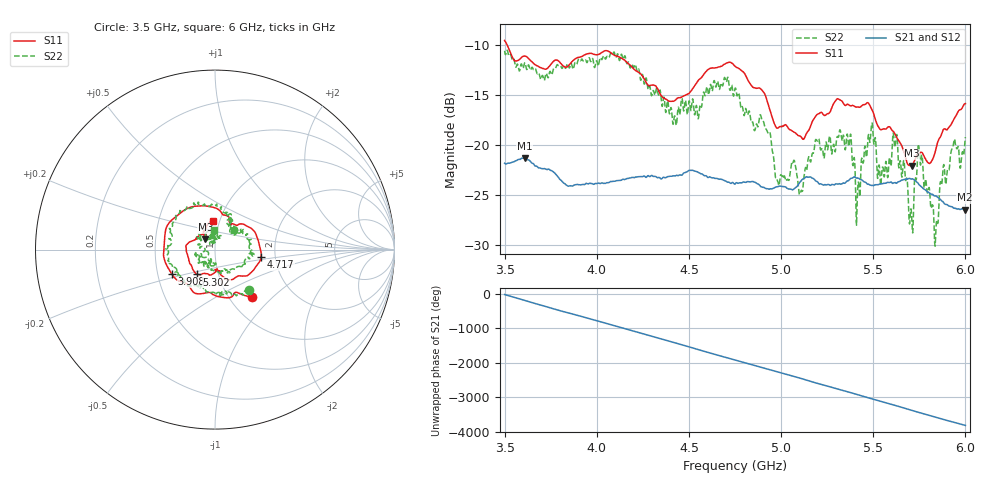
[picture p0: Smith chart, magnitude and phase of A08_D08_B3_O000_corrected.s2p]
! Created with skrf 1.9.0 (http://scikit-rf.org).
# Hz S RI R 50.0
!freq ReS11 ImS11 ReS21 ImS21 ReS12 ImS12 ReS22 ImS22
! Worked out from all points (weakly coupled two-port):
!   1601 points, 3.5 GHz to 6 GHz, reference 50 ohm
!   highest |S21| = -21.28 dB at 3.609 GHz (marker M1); lowest = -26.4 dB at 5.995 GHz (marker M2)
!   lowest |S11| = -22.0 dB at 5.708 GHz (marker M3), VSWR 1.17, Z = 44.6 + j5.22 ohm
!   |S11| at or under -10 dB: 3.515 GHz to end of sweep
!   |S22| runs from -30.1 to -10.5 dB; largest |S21 - S12| = 0.0012
!   S11 on the Smith chart (normalised r, x): 3.5 GHz: 1.28, -0.75; 3.908 GHz: 0.59, -0.18; 4.717 GHz: 1.68, -0.15; 5.302 GHz: 0.79, -0.23; 6 GHz: 0.93, +0.31
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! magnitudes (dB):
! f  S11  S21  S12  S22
! 3.5 GHz  -9.5  -21.8  -21.8  -10.5
! 3.609 GHz  -11.1  -21.3  -21.3  -11.7
! 3.908 GHz  -11.2  -24.0  -23.9  -11.4
! 3.917 GHz  -11.1  -23.9  -23.9  -11.4
! 4.334 GHz  -14.5  -23.2  -23.2  -15.0
! 4.423 GHz  -15.5  -23.1  -23.1  -17.1
! 4.717 GHz  -11.7  -23.7  -23.8  -13.9
! 4.75 GHz  -12.1  -23.9  -23.8  -14.3
! 4.981 GHz  -18.3  -24.1  -24.1  -23.6
! 5.167 GHz  -17.7  -23.3  -23.2  -21.0
! 5.302 GHz  -15.4  -23.9  -23.8  -19.3
! 5.37 GHz  -16.0  -23.4  -23.4  -19.9
! 5.417 GHz  -16.2  -23.3  -23.3  -23.9
! 5.486 GHz  -16.2  -24.0  -24.0  -19.0
! 5.584 GHz  -18.1  -23.7  -23.7  -21.9
! 5.619 GHz  -18.9  -23.7  -23.8  -20.2
! 5.708 GHz  -22.0  -23.4  -23.3  -26.9
! 5.752 GHz  -20.7  -24.0  -24.0  -21.1
! 5.841 GHz  -20.3  -25.1  -25.1  -28.3
! 5.875 GHz  -18.6  -25.6  -25.6  -23.3
! 5.995 GHz  -15.9  -26.4  -26.4  -20.1
! 6 GHz  -15.8  -26.4  -26.4  -19.2
